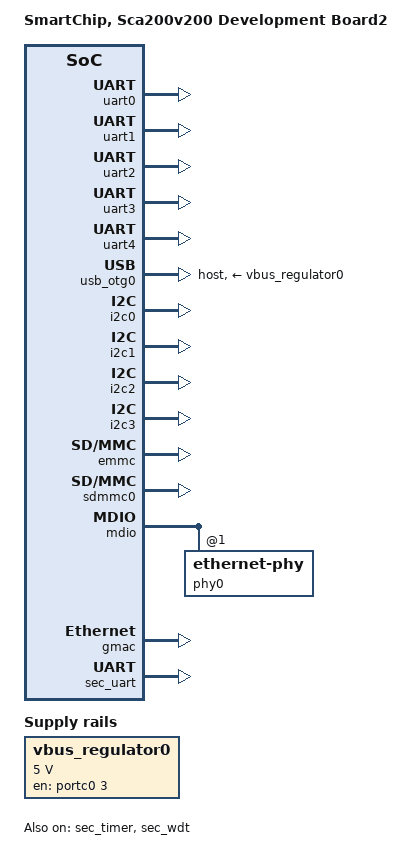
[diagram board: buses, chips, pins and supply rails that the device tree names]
/*
 * Copyright 2015 SmartChip Co., Ltd.
 */

/dts-v1/;
#include "smartchip-sca200v200.dtsi"
#include "smartchip-sca200v200-memory.dtsi"

/ {
	model = "SmartChip, Sca200v200 Development Board2";
};

&uart0 {
	status = "okay";
};

&uart1 {
	status = "okay";
};

&uart2 {
	status = "okay";
};

&uart3 {
	status = "okay";
};

&uart4 {
	status = "okay";
};

&vbus_regulator0 {
	compatible = "regulator-fixed";
	regulator-name = "usb_otg0_vbus";
	regulator-min-microvolt = <5000000>;
	regulator-max-microvolt = <5000000>;
	gpio = <&portc0 3 GPIO_ACTIVE_HIGH>;
	enable-active-high;
};

&usb_otg0 {
	dr_mode = "host";
	vbus-supply = <&vbus_regulator0>;
	status = "okay";
};

&wdt0 {
	status = "disabled";
};

&rtc0 {
	status = "disabled";
};

&pwm0 {
	status = "disabled";
};

&pwm1 {
	status = "disabled";
};

&tzc{
	status = "disabled";
};

&spim0 {
	status = "disabled";
};

&spim1 {
	status = "disabled";
};

&spis0 {
	status = "disabled";
};

&spis1 {
	status = "disabled";
};

&i2c0 {
	status = "okay";
};

&i2c1 {
	status = "okay";
};

&i2c2 {
	status = "okay";
};

&i2c3 {
	status = "okay";
};

&i2c4 {
	status = "disabled";
};

&vqmmc_sdhci {
	gpios = <&portc0 25 GPIO_ACTIVE_HIGH>;
	gpios-states = <0>;
	states = <3300000 0
		  1800000 1>;
};

&emmc {
	/delete-property/voltage-ranges;
	/delete-property/no-1-8-v;
	vqmmc-supply = <&vqmmc_sdhci>;
	mmc-hs200-1_8v;
	status = "okay";
};

&vqmmc_sdmmc0 {
	gpios = <&portb0 21 GPIO_ACTIVE_HIGH>;
	gpios-states = <0>;
	states = <3300000 0
		  1800000 1>;
};

&sdmmc0 {
	vqmmc-supply = <&vqmmc_sdmmc0>;
	status = "okay";
};

&sdmmc1 {
	/delete-property/sd-uhs-sdr12;
	/delete-property/sd-uhs-sdr25;
	/delete-property/sd-uhs-sdr50;
	/delete-property/sd-uhs-sdr104;
//	status = "okay";
};

&mdio {
	status = "okay";

	phy0: ethernet-phy@1 {
		eee-broken-100tx;
		status = "okay";
	};
};

&gmac {
	status = "okay";
};

&qspi {
	status = "disabled";
};

&sec_uart {
	status = "okay";
};

&sec_timer {
	status = "okay";
};

&sec_wdt {
	status = "okay";
};
